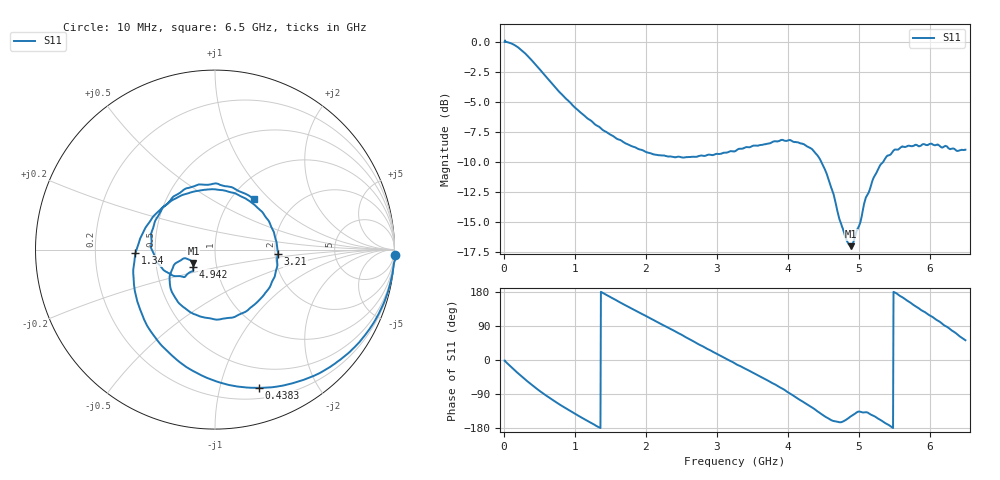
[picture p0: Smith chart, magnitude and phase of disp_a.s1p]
!Keysight Technologies,P9371A,MY57211172,A.13.10.05
!Date: Monday, March 30, 2026 16:02:16
!Correction: S11(Full 2 Port(1,2))
!S1P File: Measurement: S11:
# Hz S  dB  R 50
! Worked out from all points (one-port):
!   1001 points, 10 MHz to 6.5 GHz, reference 50 ohm
!   lowest |S11| = -17.0 dB at 4.89 GHz (marker M1), VSWR 1.33, Z = 38.9 - j5.9 ohm
!   |S11| at or under -10 dB: 4.471 GHz to 5.341 GHz (869.3 MHz wide, 17.7 % of centre)
!   S11 on the Smith chart (normalised r, x): 10 MHz: -2, -70; 438.3 MHz: 0.30, -1.33; 1.34 GHz: 0.39, -0.02; 3.21 GHz: 2.07, -0.12; 4.942 GHz: 0.77, -0.15; 6.5 GHz: 1.27, +0.81
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1e7  0.01 -1.6
1.1384e8  -0.16 -20.3
2.3715e8  -0.64 -41.3
3.345e8  -1.18 -56.7
4.3834e8  -1.84 -72.3
6.3304e8  -3.18 -98.7
8.2125e8  -4.40 -121.6
1.06787e9  -5.82 -149.1
1.34045e9  -7.06 -177.6
1.6325e9  -8.16 152.3
2.04137e9  -9.24 111.9
2.44375e9  -9.57 72.2
2.8656e9  -9.42 29.3
3.20957e9  -9.10 -4.3
3.255e9  -9.10 -9.2
3.66387e9  -8.52 -48.9
4.06625e9  -8.29 -92.8
4.25446e9  -8.64 -114.9
4.46214e9  -9.89 -141.5
4.69578e9  -14.05 -162.7
4.8775e9  -16.97 -149.8
4.89048e9  -17.00 -148.2
4.9424e9  -16.27 -142.1
5.24094e9  -10.96 -150.9
5.49405e9  -9.01 179.3
5.68875e9  -8.66 155.5
6.10411e9  -8.56 104.7
6.5e9  -8.97 52.2
